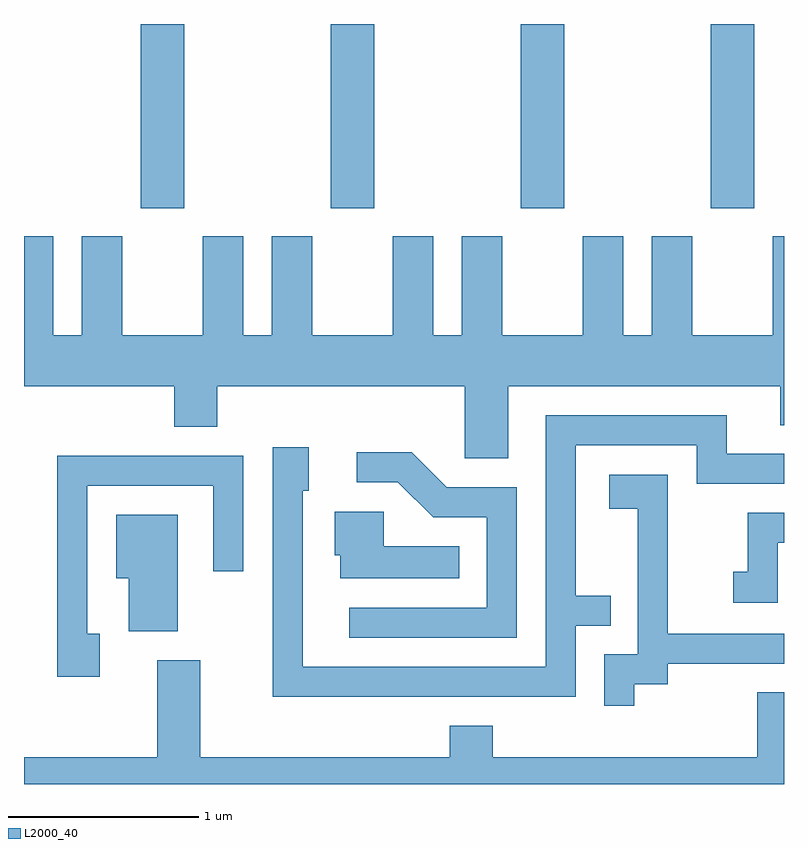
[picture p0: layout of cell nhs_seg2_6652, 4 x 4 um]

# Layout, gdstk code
import gdstk
lib = gdstk.Library(unit=1e-6, precision=1e-09)
def R(c, l, rs):  # rectangles x0, y0, x1, y1
    for r in rs: c.add(gdstk.rectangle(r[:2], r[2:], *l))
def A(c, l, x, y, w, h, nx, ny, dx, dy):  # array of equal rectangles
    R(c, l, [(x+i*dx, y+j*dy, x+i*dx+w, y+j*dy+h) for i in range(nx) for j in range(ny)])
def P(c, l, *ps):  # polygons
    for p in ps: c.add(gdstk.Polygon(p, *l))
L2000_40 = (2000, 40)

nhs_seg2_6652 = lib.new_cell('nhs_seg2_6652')
A(nhs_seg2_6652, L2000_40, 382.226, 1024.831, 0.228, 0.971, 4, 1, 1, 0)
P(nhs_seg2_6652, L2000_40, [(382.551,1024.164),(382.129,1024.164),(382.129,1024.684),(381.916,1024.684),(381.916,1024.164),(381.764,1024.164),(381.764,1024.684),(381.611,1024.684),(381.611,1023.896),(382.401,1023.896),(382.401,1023.681),(382.629,1023.681),(382.629,1023.896),(383.931,1023.896),(383.931,1023.516),(384.159,1023.516),(384.159,1023.896),(385.591,1023.896),(385.591,1023.691),(385.611,1023.691),(385.611,1024.684),(385.551,1024.684),(385.551,1024.164),(385.129,1024.164),(385.129,1024.684),(384.916,1024.684),(384.916,1024.164),(384.764,1024.164),(384.764,1024.684),(384.551,1024.684),(384.551,1024.164),(384.129,1024.164),(384.129,1024.684),(383.916,1024.684),(383.916,1024.164),(383.764,1024.164),(383.764,1024.684),(383.551,1024.684),(383.551,1024.164),(383.129,1024.164),(383.129,1024.684),(382.916,1024.684),(382.916,1024.164),(382.764,1024.164),(382.764,1024.684),(382.551,1024.684)],
  [(384.514,1022.636),(384.698,1022.636),(384.698,1022.794),(384.514,1022.794),(384.514,1023.586),(385.151,1023.586),(385.151,1023.381),(385.611,1023.381),(385.611,1023.539),(385.309,1023.539),(385.309,1023.744),(384.356,1023.744),(384.356,1022.419),(383.079,1022.419),(383.079,1023.346),(383.109,1023.346),(383.109,1023.574),(382.921,1023.574),(382.921,1022.261),(384.514,1022.261)],
  [(384.204,1023.364),(383.837,1023.364),(383.652,1023.549),(383.363,1023.549),(383.363,1023.391),(383.579,1023.391),(383.764,1023.206),(384.046,1023.206),(384.046,1022.729),(383.323,1022.729),(383.323,1022.571),(384.204,1022.571)],
  [(382.009,1022.594),(381.944,1022.594),(381.944,1023.371),(382.606,1023.371),(382.606,1022.923),(382.764,1022.923),(382.764,1023.529),(381.786,1023.529),(381.786,1022.366),(382.009,1022.366)],
  [(384.824,1022.326),(384.999,1022.326),(384.999,1022.436),(385.611,1022.436),(385.611,1022.594),(384.999,1022.594),(384.999,1023.429),(384.691,1023.429),(384.691,1023.251),(384.841,1023.251),(384.841,1022.484),(384.666,1022.484),(384.666,1022.213),(384.824,1022.213)],
  [(383.903,1023.054),(383.504,1023.054),(383.504,1023.234),(383.246,1023.234),(383.246,1023.006),(383.276,1023.006),(383.276,1022.886),(383.903,1022.886)],
  [(385.579,1023.071),(385.611,1023.071),(385.611,1023.229),(385.421,1023.229),(385.421,1022.919),(385.343,1022.919),(385.343,1022.756),(385.579,1022.756)],
  [(382.419,1023.219),(382.096,1023.219),(382.096,1022.886),(382.161,1022.886),(382.161,1022.606),(382.419,1022.606)],
  [(385.611,1022.284),(385.471,1022.284),(385.471,1021.944),(384.079,1021.944),(384.079,1022.109),(383.851,1022.109),(383.851,1021.944),(382.539,1021.944),(382.539,1022.454),(382.311,1022.454),(382.311,1021.944),(381.611,1021.944),(381.611,1021.802),(385.611,1021.802)])

lib.write_gds('nhs_seg2_6652.gds')
